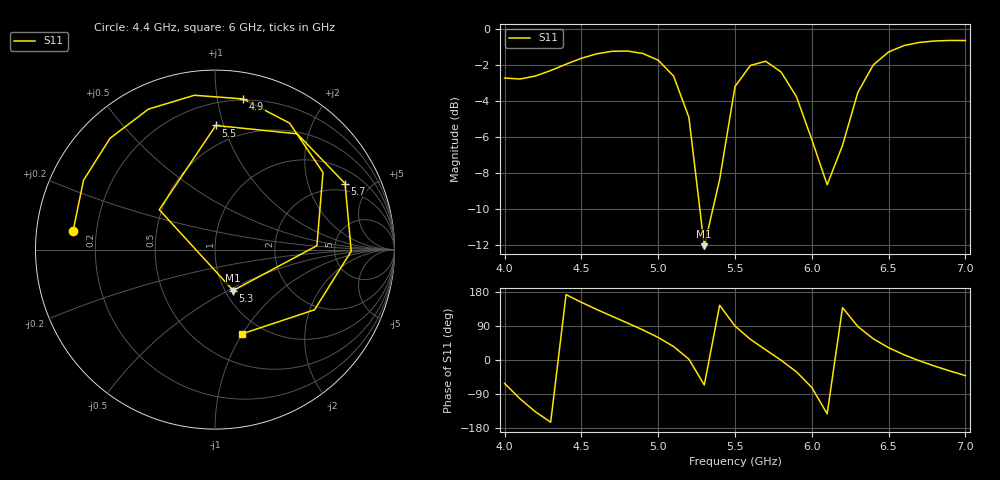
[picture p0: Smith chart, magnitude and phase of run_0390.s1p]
! Touchstone file exported from HFSS 2024.2.0
!  File:  C:/Users/wsak9/Desktop/Sim Fast/Widenad Patch/WP_AI_V1_sweep.aedt
!  Generated:  07:44:04 AM Oct 14, 2026
!  Design:  A1_model
!  Project:  WP_AI_V1_sweep
!  Setup:  Setup1
!  Solution:  Sweep
! Variables:
!  Air_gap = 4.61mm
!  Curve_Amp1 = 3.45
!  Curve_len1 = 1
!  Curve_pos = 11.19mm
!  Extra = 7.77mm
!  H_sub = 0.79mm
!  L_Patch = 18.38mm
!  L_Patch1 = 19.39mm
!  Sx = 0.45mm
!  Sy = 2.17mm
!  WS = 0.86mm
!  W_Patch = 11.13mm
!  W_Patch1 = 11.62mm
!Data is not renormalized
# GHz S MA
! Terminal data exported
! Port[1] = 1
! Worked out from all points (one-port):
!   31 points, 4 GHz to 7 GHz, reference per port
!   lowest |S11| = -12.1 dB at 5.3 GHz (marker M1), VSWR 1.66
!   |S11| at or under -10 dB: 5.271 GHz to 5.356 GHz (84.49 MHz wide, 1.59 % of centre)
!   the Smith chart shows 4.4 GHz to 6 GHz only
!   S11 on the Smith chart (normalised r, x): 4.4 GHz: 0.11, +0.06; 4.9 GHz: 0.19, +1.19; 5.3 GHz: 1.09, -0.53; 5.5 GHz: 0.36, +0.94; 5.7 GHz: 1.61, +3.48; 6 GHz: 0.80, -0.99
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4  0.7302 -61.8
4.1  0.7255 -102.3
4.2  0.7396 -136.4
4.3  0.7659 -164.2
4.4  0.7976 172.6
4.6  0.8524 133.3
4.8  0.8675 97.6
4.9  0.854 79.4
5  0.8181 59.5
5.1  0.7395 35.5
5.2  0.5681 2.2
5.3  0.2495 -66.0
5.4  0.3818 144.4
5.5  0.6914 89.6
5.6  0.7912 54.6
5.7  0.8126 26.9
5.8  0.759 -0.7
5.9  0.648 -31.2
6  0.493 -72.5
6.1  0.3693 -142.0
6.2  0.4748 138.1
6.3  0.6663 88.3
6.4  0.7938 56.0
6.5  0.8626 32.5
6.6  0.8983 13.8
6.7  0.9165 -2.0
6.8  0.9251 -16.1
7  0.9277 -41.2
